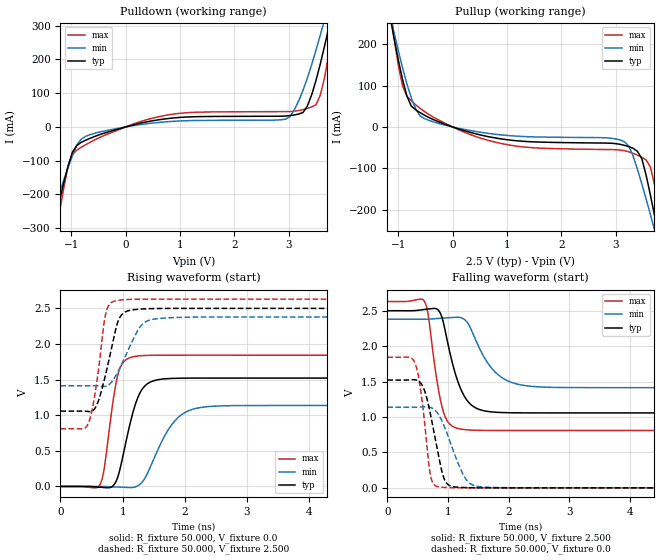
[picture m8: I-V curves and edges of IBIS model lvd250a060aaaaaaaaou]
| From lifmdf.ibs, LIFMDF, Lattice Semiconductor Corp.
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|   Model lvd250a060aaaaaaaaou
[Model] lvd250a060aaaaaaaaou
Model_type Output
Polarity   Non-Inverting
Vmeas =  1.250V
Cref =  0.0F
Rref =  1.000M
Vref =  0.0V
C_comp   5.000pF   4.000pF   5.500pF
[Temperature Range]   25.000   0.125k   -40.000
[Voltage Range]   2.500V   2.380V   2.630V
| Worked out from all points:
|   slope of the pulldown table from 0 to 0.375 V, typ, clamps not added: 25.5 ohm
|   slope of the pullup table from 0 to 0.375 V, typ, clamps not added: 25 ohm
|   rising waveform, R_fixture 50.000, V_fixture 0.0: 20-80 % time 257ps typ, 407ps min, 176ps max; typ from 0 V to 1.52 V
|   rising waveform, R_fixture 50.000, V_fixture 2.500: 20-80 % time 230ps typ, 319ps min, 166ps max; typ from 1.06 V to 2.5 V
|   falling waveform, R_fixture 50.000, V_fixture 2.500: 20-80 % time 282ps typ, 406ps min, 192ps max; typ from 2.5 V to 1.06 V
|   falling waveform, R_fixture 50.000, V_fixture 0.0: 20-80 % time 215ps typ, 310ps min, 147ps max; typ from 1.52 V to 0 V
[Pulldown]
|Voltage   I(typ)   I(min)   I(max)
-2.5V     -1.164A    -869.5mA   -1.575A
-1.46V    -388.7mA   -317.1mA   -491.1mA
-1.3V     -275.2mA   -235.7mA   -332.1mA
-1.06V    -116.4mA   -120.5mA   -115.7mA
-740mV    -39.66mA   -28.14mA   -53.12mA
780mV     24.92mA    15.62mA    35.6mA
2.94V     32.34mA    23.17mA    45.38mA
3.34V     61.42mA    144.5mA    54.97mA
3.5V      137.9mA    227.6mA    65.57mA
3.66V     241.6mA    319.6mA    147.9mA
3.82V     358.7mA    417.6mA    306mA
5V        1.369A     1.246A     2.12A
[Pullup]
|Voltage   I(typ)   I(min)   I(max)
-2.5V     1.42A      1.209A     2.387A
-1.16V    274.2mA    277.5mA    305.2mA
-920mV    114.7mA    143mA      98.81mA
-760mV    50.41mA    70.49mA    62.9mA
-520mV    28.57mA    20.35mA    37.57mA
920mV     -29.37mA   -19.52mA   -40.68mA
3.08V     -41.99mA   -31.27mA   -55.7mA
3.24V     -47.5mA    -46.08mA   -59.99mA
3.48V     -76.48mA   -137.4mA   -73.16mA
3.72V     -217.4mA   -251.4mA   -142.7mA
3.88V     -326.6mA   -331.7mA   -284.4mA
5V        -1.151A    -921.3mA   -1.428A
[Ramp]
| variable   typ   min   max
dV/dt_r   0.913/0.261n   0.682/0.412n   1.106/0.180n
dV/dt_f   0.865/0.289n   0.580/0.412n   1.092/0.198n
R_load = 50.000
[Rising Waveform]
R_fixture= 50.000
V_fixture= 0.0
V_fixture_min= 0.0
V_fixture_max= 0.0
|time   V(typ)   V(min)   V(max)
0s        0V         0V         0V
638ps     -10.9mV    640.9uV    31.66mV
698ps     -14.93mV   -44.11uV   221mV
848ps     10.75mV    -6.126mV   1.21V
928ps     148.8mV    -8.64mV    1.583V
1.186ns   1.101V     -10.49mV   1.824V
1.397ns   1.441V     181.1mV    1.84V
1.842ns   1.518V     923.5mV    1.843V
2.292ns   1.521V     1.113V     1.843V
10ns      1.521V     1.137V     1.843V
[Rising Waveform]
R_fixture= 50.000
V_fixture= 2.500
V_fixture_min= 2.380
V_fixture_max= 2.630
|time   V(typ)   V(min)   V(max)
0s        1.058V     1.414V     810.2mV
449ps     1.052V     1.414V     888.1mV
557ps     1.1V       1.414V     1.309V
728ps     1.581V     1.407V     2.426V
787ps     1.805V     1.433V     2.556V
896ps     2.232V     1.565V     2.608V
1.017ns   2.437V     1.778V     2.622V
1.282ns   2.49V      2.242V     2.629V
1.546ns   2.498V     2.355V     2.63V
10ns      2.5V       2.38V      2.63V
[Falling Waveform]
R_fixture= 50.000
V_fixture= 2.500
V_fixture_min= 2.380
V_fixture_max= 2.630
|time   V(typ)   V(min)   V(max)
0s        2.5V       2.38V      2.63V
617ps     2.518V     2.38V      2.623V
677ps     2.524V     2.382V     2.426V
817ps     2.525V     2.39V      1.524V
917ps     2.36V      2.396V     1.098V
1.197ns   1.426V     2.405V     832.1mV
1.407ns   1.156V     2.188V     814.6mV
1.778ns   1.068V     1.635V     810.5mV
2.288ns   1.058V     1.442V     810.2mV
10ns      1.058V     1.414V     810.2mV
[Falling Waveform]
R_fixture= 50.000
V_fixture= 0.0
V_fixture_min= 0.0
V_fixture_max= 0.0
|time   V(typ)   V(min)   V(max)
0s        1.521V     1.137V     1.843V
461ps     1.525V     1.138V     1.75V
558ps     1.472V     1.142V     1.331V
708ps     1.054V     1.135V     195.3mV
838ps     489.8mV    1.044V     16.16mV
917ps     179.9mV    915.2mV    7.447mV
997ps     49.54mV    741.3mV    3.837mV
1.288ns   4.055mV    134.3mV    356.4uV
1.528ns   933.2uV    15.86mV    50uV
10ns      0V         0V         0V
